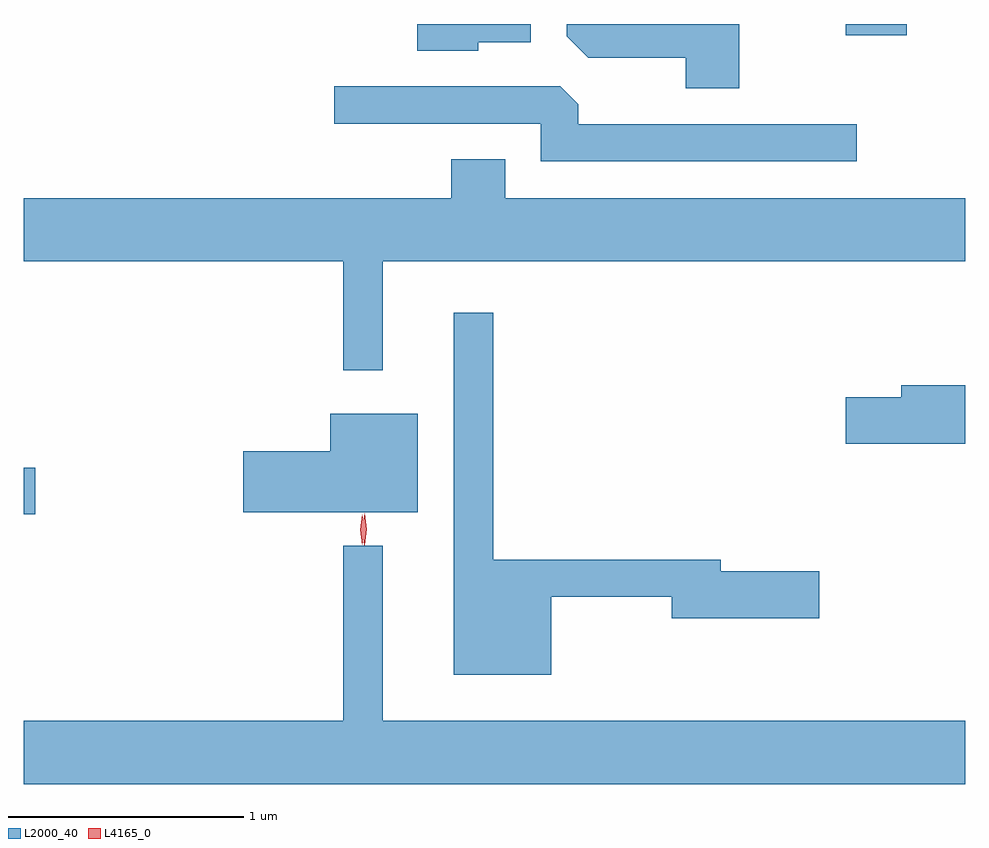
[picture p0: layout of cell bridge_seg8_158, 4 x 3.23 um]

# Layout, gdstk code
import gdstk
lib = gdstk.Library(unit=1e-6, precision=1e-09)
def R(c, l, rs):  # rectangles x0, y0, x1, y1
    for r in rs: c.add(gdstk.rectangle(r[:2], r[2:], *l))
def P(c, l, *ps):  # polygons
    for p in ps: c.add(gdstk.Polygon(p, *l))
L2000_40 = (2000, 40)
L4165_0 = (4165, 0)

bridge_seg8_158 = lib.new_cell('bridge_seg8_158')
R(bridge_seg8_158, L2000_40, [(1422.044,1919.701,1422.094,1919.899), (1425.536,1921.736,1425.794,1921.784)])
P(bridge_seg8_158, L2000_40, [(1425.084,1921.784),(1424.351,1921.784),(1424.351,1921.732),(1424.442,1921.641),(1424.856,1921.641),(1424.856,1921.511),(1425.084,1921.511)],
  [(1423.974,1921.706),(1424.199,1921.706),(1424.199,1921.784),(1423.716,1921.784),(1423.716,1921.671),(1423.974,1921.671)],
  [(1425.583,1921.359),(1424.399,1921.359),(1424.399,1921.444),(1424.324,1921.519),(1423.363,1921.519),(1423.363,1921.361),(1424.241,1921.361),(1424.241,1921.201),(1425.583,1921.201)],
  [(1423.569,1920.776),(1426.044,1920.776),(1426.044,1921.044),(1424.089,1921.044),(1424.089,1921.209),(1423.861,1921.209),(1423.861,1921.044),(1422.044,1921.044),(1422.044,1920.776),(1423.401,1920.776),(1423.401,1920.313),(1423.569,1920.313)],
  [(1424.284,1919.351),(1424.796,1919.351),(1424.796,1919.261),(1425.424,1919.261),(1425.424,1919.459),(1425.004,1919.459),(1425.004,1919.509),(1424.039,1919.509),(1424.039,1920.558),(1423.871,1920.558),(1423.871,1919.021),(1424.284,1919.021)],
  [(1426.044,1920.249),(1425.771,1920.249),(1425.771,1920.199),(1425.536,1920.199),(1425.536,1920.001),(1426.044,1920.001)],
  [(1423.719,1920.129),(1423.346,1920.129),(1423.346,1919.969),(1422.976,1919.969),(1422.976,1919.711),(1423.719,1919.711)],
  [(1426.044,1918.824),(1423.569,1918.824),(1423.569,1919.568),(1423.401,1919.568),(1423.401,1918.824),(1422.044,1918.824),(1422.044,1918.556),(1426.044,1918.556)])
P(bridge_seg8_158, L4165_0, [(1423.491,1919.569),(1423.491,1919.57),(1423.482,1919.638),(1423.492,1919.705),(1423.493,1919.706),(1423.493,1919.705),(1423.502,1919.638),(1423.492,1919.57)],
  [(1423.482,1919.573),(1423.473,1919.636),(1423.482,1919.699),(1423.483,1919.7),(1423.483,1919.699),(1423.493,1919.636),(1423.483,1919.573),(1423.483,1919.573)])

lib.write_gds('bridge_seg8_158.gds')
